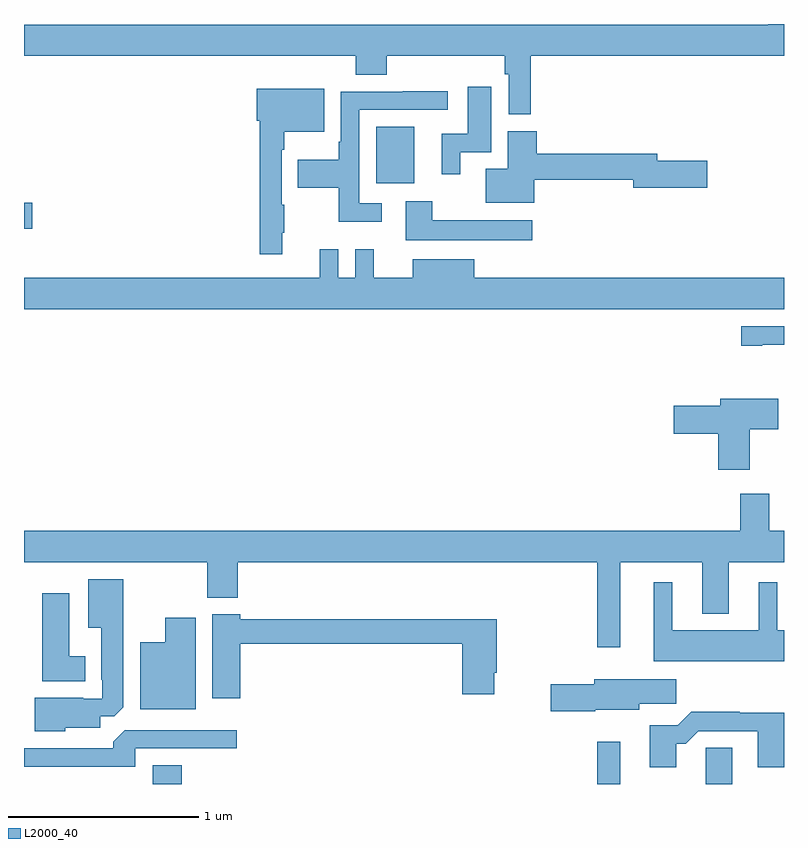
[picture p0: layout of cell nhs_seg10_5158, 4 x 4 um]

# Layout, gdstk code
import gdstk
lib = gdstk.Library(unit=1e-6, precision=1e-09)
def R(c, l, rs):  # rectangles x0, y0, x1, y1
    for r in rs: c.add(gdstk.rectangle(r[:2], r[2:], *l))
def P(c, l, *ps):  # polygons
    for p in ps: c.add(gdstk.Polygon(p, *l))
L2000_40 = (2000, 40)

nhs_seg10_5158 = lib.new_cell('nhs_seg10_5158')
R(nhs_seg10_5158, L2000_40, [(411.677,1280.5,411.83,1280.599), (414.018,1280.5,414.139,1280.722), (414.588,1280.5,414.727,1280.69), (411,1283.423,411.043,1283.558), (412.853,1283.663,413.053,1283.959)])
P(nhs_seg10_5158, L2000_40, [(413.666,1284.332),(415,1284.332),(415,1284.5),(414.917,1284.5),(414.917,1284.496),(411,1284.496),(411,1284.332),(412.745,1284.332),(412.745,1284.233),(412.91,1284.233),(412.91,1284.332),(413.53,1284.332),(413.53,1284.236),(413.55,1284.236),(413.55,1284.024),(413.666,1284.024)],
  [(413.296,1283.826),(413.458,1283.826),(413.458,1284.169),(413.336,1284.169),(413.336,1283.922),(413.198,1283.922),(413.198,1283.709),(413.296,1283.709)],
  [(412.358,1283.401),(412.369,1283.401),(412.369,1283.549),(412.356,1283.549),(412.356,1283.837),(412.369,1283.837),(412.369,1283.933),(412.579,1283.933),(412.579,1284.16),(412.226,1284.16),(412.226,1283.99),(412.24,1283.99),(412.24,1283.289),(412.358,1283.289)],
  [(412.882,1283.556),(412.764,1283.556),(412.764,1284.048),(413.23,1284.048),(413.23,1284.146),(412.993,1284.146),(412.993,1284.144),(412.668,1284.144),(412.668,1283.881),(412.656,1283.881),(412.656,1283.785),(412.441,1283.785),(412.441,1283.638),(412.656,1283.638),(412.656,1283.459),(412.882,1283.459)],
  [(413.686,1283.68),(414.206,1283.68),(414.206,1283.638),(414.595,1283.638),(414.595,1283.78),(414.334,1283.78),(414.334,1283.816),(413.699,1283.816),(413.699,1283.935),(413.546,1283.935),(413.546,1283.737),(413.429,1283.737),(413.429,1283.558),(413.686,1283.558)],
  [(413.674,1283.467),(413.149,1283.467),(413.149,1283.566),(413.009,1283.566),(413.009,1283.363),(413.674,1283.363)],
  [(415,1283.164),(413.371,1283.164),(413.371,1283.263),(413.045,1283.263),(413.045,1283.164),(412.841,1283.164),(412.841,1283.314),(412.743,1283.314),(412.743,1283.164),(412.653,1283.164),(412.653,1283.314),(412.556,1283.314),(412.556,1283.164),(411,1283.164),(411,1283),(415,1283)],
  [(414.886,1282.812),(415,1282.812),(415,1282.908),(414.774,1282.908),(414.774,1282.807),(414.886,1282.807)],
  [(414.82,1282.366),(414.971,1282.366),(414.971,1282.528),(414.665,1282.528),(414.665,1282.49),(414.42,1282.49),(414.42,1282.343),(414.653,1282.343),(414.653,1282.155),(414.82,1282.155)],
  [(414.139,1281.668),(414.569,1281.668),(414.569,1281.395),(414.709,1281.395),(414.709,1281.668),(415,1281.668),(415,1281.832),(414.922,1281.832),(414.922,1282.027),(414.77,1282.027),(414.77,1281.832),(411,1281.832),(411,1281.668),(411.964,1281.668),(411.964,1281.479),(412.124,1281.479),(412.124,1281.668),(414.018,1281.668),(414.018,1281.219),(414.139,1281.219)],
  [(411.216,1280.795),(411.4,1280.795),(411.4,1280.856),(411.474,1280.856),(411.523,1280.905),(411.523,1281.577),(411.338,1281.577),(411.338,1281.323),(411.407,1281.323),(411.407,1281.049),(411.411,1281.049),(411.411,1280.949),(411.311,1280.949),(411.311,1280.953),(411.056,1280.953),(411.056,1280.777),(411.216,1280.777)],
  [(415,1281.31),(414.964,1281.31),(414.964,1281.562),(414.866,1281.562),(414.866,1281.31),(414.412,1281.31),(414.412,1281.562),(414.314,1281.562),(414.314,1281.146),(415,1281.146)],
  [(411.322,1281.172),(411.238,1281.172),(411.238,1281.505),(411.095,1281.505),(411.095,1281.041),(411.322,1281.041)],
  [(412.139,1281.238),(413.306,1281.238),(413.306,1280.973),(413.476,1280.973),(413.476,1281.085),(413.489,1281.085),(413.489,1281.367),(412.139,1281.367),(412.139,1281.394),(411.992,1281.394),(411.992,1280.952),(412.139,1280.952)],
  [(411.904,1281.376),(411.743,1281.376),(411.743,1281.247),(411.611,1281.247),(411.611,1280.894),(411.904,1280.894)],
  [(414.006,1280.891),(414.238,1280.891),(414.238,1280.923),(414.433,1280.923),(414.433,1281.052),(414.002,1281.052),(414.002,1281.026),(413.772,1281.026),(413.772,1280.884),(414.006,1280.884)],
  [(414.433,1280.711),(414.482,1280.711),(414.549,1280.778),(414.863,1280.778),(414.863,1280.589),(415,1280.589),(415,1280.876),(414.767,1280.876),(414.767,1280.879),(414.512,1280.879),(414.442,1280.809),(414.293,1280.809),(414.293,1280.589),(414.433,1280.589)],
  [(411.585,1280.688),(412.12,1280.688),(412.12,1280.784),(411.531,1280.784),(411.47,1280.722),(411.47,1280.688),(411,1280.688),(411,1280.592),(411.585,1280.592)])

lib.write_gds('nhs_seg10_5158.gds')
